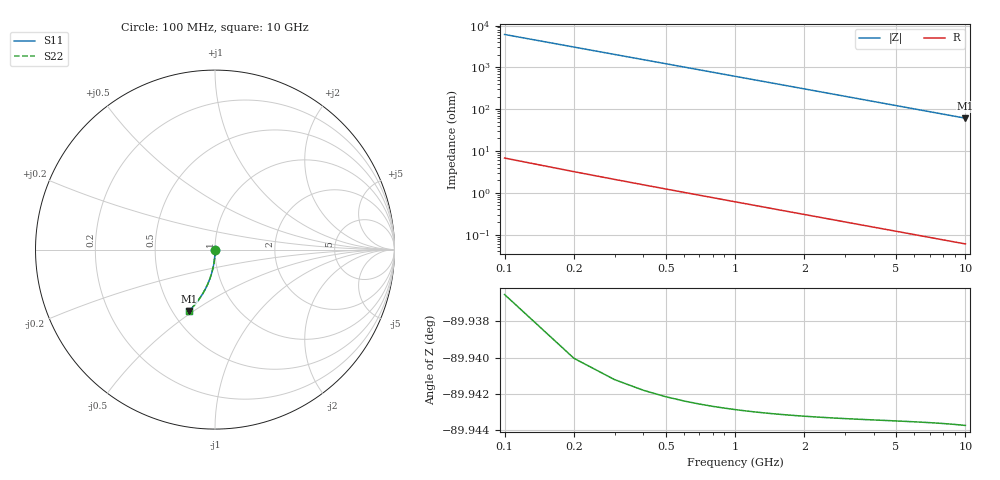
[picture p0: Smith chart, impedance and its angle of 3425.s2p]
# Hz S RI R 50.00
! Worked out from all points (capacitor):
!   100 points, 100 MHz to 10 GHz, reference 50 ohm
!   read as one part in shunt: C = 260 fF near 100 MHz
!   lowest |Z| = 61 ohm at 10 GHz (marker M1)
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1e8  -1.79e-06 -0.00399  1 -0.00418  1 -0.00418  -1.79e-06 -0.00399
2e8  -5.57e-05 -0.00797  0.9999 -0.00836  0.9999 -0.00836  -5.57e-05 -0.00797
3e8  -0.000143 -0.012  0.9998 -0.0125  0.9998 -0.0125  -0.000143 -0.012
4e8  -0.000264 -0.0159  0.9997 -0.0167  0.9997 -0.0167  -0.000264 -0.0159
5e8  -0.000417 -0.0199  0.9995 -0.0209  0.9995 -0.0209  -0.000417 -0.0199
6e8  -0.000605 -0.0239  0.9994 -0.0251  0.9994 -0.0251  -0.000605 -0.0239
7e8  -0.000825 -0.0279  0.9991 -0.0293  0.9991 -0.0293  -0.000825 -0.0279
8e8  -0.00108 -0.0319  0.9989 -0.0334  0.9989 -0.0334  -0.00108 -0.0319
9e8  -0.00137 -0.0358  0.9986 -0.0376  0.9986 -0.0376  -0.00137 -0.0358
1.1e9  -0.00204 -0.0438  0.9979 -0.0459  0.9979 -0.0459  -0.00204 -0.0438
1.4e9  -0.0033 -0.0557  0.9967 -0.0584  0.9967 -0.0584  -0.0033 -0.0557
1.8e9  -0.00544 -0.0714  0.9945 -0.075  0.9945 -0.075  -0.00544 -0.0714
2.1e9  -0.00738 -0.0832  0.9926 -0.0873  0.9926 -0.0873  -0.00738 -0.0832
2.5e9  -0.0104 -0.0987  0.9895 -0.1037  0.9895 -0.1037  -0.0104 -0.0987
2.9e9  -0.014 -0.1142  0.986 -0.1199  0.986 -0.1199  -0.014 -0.1142
3.4e9  -0.0191 -0.1332  0.9808 -0.1399  0.9808 -0.1399  -0.0191 -0.1332
4.2e9  -0.0289 -0.163  0.971 -0.1713  0.971 -0.1713  -0.0289 -0.163
5.1e9  -0.0421 -0.1953  0.9578 -0.2055  0.9578 -0.2055  -0.0421 -0.1953
5.9e9  -0.0556 -0.2228  0.9443 -0.2346  0.9443 -0.2346  -0.0556 -0.2228
6.7e9  -0.0706 -0.2491  0.9293 -0.2625  0.9293 -0.2625  -0.0706 -0.2491
8.4e9  -0.1069 -0.3001  0.893 -0.317  0.893 -0.317  -0.1069 -0.3001
1e10  -0.1452 -0.3417  0.8546 -0.362  0.8546 -0.362  -0.1452 -0.3417
